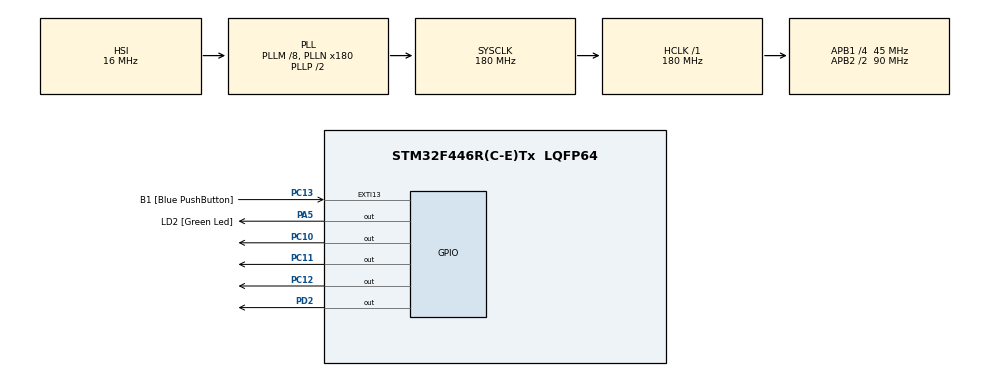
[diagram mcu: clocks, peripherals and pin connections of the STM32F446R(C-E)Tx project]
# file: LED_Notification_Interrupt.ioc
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Mcu.Family=STM32F4
Mcu.Name=STM32F446R(C-E)Tx
Mcu.Package=LQFP64
NVIC.EXTI15_10_IRQn=true\:6\:0\:true\:false\:true\:true\:true\:true
NVIC.PriorityGroup=NVIC_PRIORITYGROUP_4
NVIC.TIM6_DAC_IRQn=true\:15\:0\:false\:false\:true\:false\:true\:true
NVIC.TimeBase=TIM6_DAC_IRQn
NVIC.TimeBaseIP=TIM6
PA13.GPIO_Label=TMS
PA13.Mode=Serial_Wire
PA13.Signal=SYS_JTMS-SWDIO
PA14.GPIO_Label=TCK
PA14.Mode=Serial_Wire
PA14.Signal=SYS_JTCK-SWCLK
PA2.GPIO_Label=USART_TX
PA2.Signal=USART2_TX
PA3.GPIO_Label=USART_RX
PA3.Signal=USART2_RX
PA5.GPIO_Label=LD2 [Green Led]
PA5.Signal=GPIO_Output
PB3.GPIO_Label=SWO
PB3.Signal=SYS_JTDO-SWO
PC10.Signal=GPIO_Output
PC11.Signal=GPIO_Output
PC12.Signal=GPIO_Output
PC13.GPIO_Label=B1 [Blue PushButton]
PC13.GPIO_ModeDefaultEXTI=GPIO_MODE_IT_FALLING
PC13.Signal=GPXTI13
PC14-OSC32_IN.Signal=RCC_OSC32_IN
PC15-OSC32_OUT.Signal=RCC_OSC32_OUT
PD2.Signal=GPIO_Output
PH0-OSC_IN.Signal=RCC_OSC_IN
PH1-OSC_OUT.Signal=RCC_OSC_OUT
ProjectManager.HeapSize=0x200
ProjectManager.StackSize=0x400
ProjectManager.TargetToolchain=STM32CubeIDE
RCC.AHBFreq_Value=180000000
RCC.APB1CLKDivider=RCC_HCLK_DIV4
RCC.APB1Freq_Value=45000000
RCC.APB1TimFreq_Value=90000000
RCC.APB2CLKDivider=RCC_HCLK_DIV2
RCC.APB2Freq_Value=90000000
RCC.APB2TimFreq_Value=180000000
RCC.CortexFreq_Value=180000000
RCC.FLatency-AdvancedSettings=FLASH_LATENCY_5
RCC.HCLKFreq_Value=180000000
RCC.HSE_VALUE=8000000
RCC.HSI_VALUE=16000000
RCC.LSE_VALUE=32768
RCC.PLLM=8
RCC.PLLN=180
RCC.SYSCLKFreq_VALUE=180000000
RCC.SYSCLKSource=RCC_SYSCLKSOURCE_PLLCLK
RCC.USBFreq_Value=180000000
RCC.VCOOutputFreq_Value=360000000
VP_SYS_VS_tim6.Mode=TIM6
board=NUCLEO-F446RE

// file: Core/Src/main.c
/* USER CODE BEGIN Header */
/**
  ******************************************************************************
  * @file           : main.c
  * @brief          : Main program body
  ******************************************************************************
  * @attention
  *
  * Copyright (c) 2022 STMicroelectronics.
  * All rights reserved.
  *
  * This software is licensed under terms that can be found in the LICENSE file
  * in the root directory of this software component.
  * If no LICENSE file comes with this software, it is provided AS-IS.
  *
  ******************************************************************************
  */
/* USER CODE END Header */
#include "main.h"

/* USER CODE BEGIN Includes */
#include "FreeRTOS.h"
#include"task.h"
/* USER CODE END Includes */

/* USER CODE BEGIN PV */
#define DWT_CTRL (*(volatile uint32_t *)0xE0001000)
/* USER CODE END PV */

void SystemClock_Config(void);
static void MX_GPIO_Init(void);
/* USER CODE BEGIN PFP */
static void led_orange_handler (void * prameters );
static void led_yellow_handler (void * prameters );
static void led_green_handler (void * prameters );

TaskHandle_t volatile next_task_handle = NULL ;

TaskHandle_t  orange_handle ;
TaskHandle_t  yellow_handle  ;
TaskHandle_t green_handle ;
TaskHandle_t bt_handle ;
/* USER CODE END PFP */

int main(void)
{
  /* USER CODE BEGIN 1 */
	BaseType_t status ;
  /* USER CODE END 1 */

  /* MCU Configuration--------------------------------------------------------*/

  /* Reset of all peripherals, Initializes the Flash interface and the Systick. */
  HAL_Init();

  /* Configure the system clock */
  SystemClock_Config();

  /* Initialize all configured peripherals */
  MX_GPIO_Init();
  /* USER CODE BEGIN 2 */
  DWT_CTRL |= (1<<0) ;

  SEGGER_UART_init(500000);

  SEGGER_SYSVIEW_Conf() ;
//  SEGGER_SYSVIEW_Start() ;

  status = xTaskCreate(led_orange_handler, "task-3", 200,NULL, 3, &orange_handle) ;
  configASSERT(status == pdPASS) ;
  next_task_handle = orange_handle ;

  status = xTaskCreate(led_yellow_handler, "task-2", 200, NULL,2, &yellow_handle) ;
  configASSERT(status == pdPASS) ;

  status = xTaskCreate(led_green_handler, "task-1", 200, NULL, 1, &green_handle) ;
  configASSERT(status == pdPASS) ;

  configASSERT(status == pdPASS) ;

  // start the FreeRTOS scheduler
  vTaskStartScheduler();
  /* USER CODE END 2 */

  /* Infinite loop */
  while (1)
  {

  }
}

void SystemClock_Config(void)
{
  RCC_OscInitTypeDef RCC_OscInitStruct = {0};
  RCC_ClkInitTypeDef RCC_ClkInitStruct = {0};

  /** Configure the main internal regulator output voltage
  */
  __HAL_RCC_PWR_CLK_ENABLE();
  __HAL_PWR_VOLTAGESCALING_CONFIG(PWR_REGULATOR_VOLTAGE_SCALE1);

  /** Initializes the RCC Oscillators according to the specified parameters
  * in the RCC_OscInitTypeDef structure.
  */
  RCC_OscInitStruct.OscillatorType = RCC_OSCILLATORTYPE_HSI;
  RCC_OscInitStruct.HSIState = RCC_HSI_ON;
  RCC_OscInitStruct.HSICalibrationValue = RCC_HSICALIBRATION_DEFAULT;
  RCC_OscInitStruct.PLL.PLLState = RCC_PLL_ON;
  RCC_OscInitStruct.PLL.PLLSource = RCC_PLLSOURCE_HSI;
  RCC_OscInitStruct.PLL.PLLM = 8;
  RCC_OscInitStruct.PLL.PLLN = 180;
  RCC_OscInitStruct.PLL.PLLP = RCC_PLLP_DIV2;
  RCC_OscInitStruct.PLL.PLLQ = 2;
  RCC_OscInitStruct.PLL.PLLR = 2;
  if (HAL_RCC_OscConfig(&RCC_OscInitStruct) != HAL_OK)
  {
    Error_Handler();
  }

  /** Activate the Over-Drive mode
  */
  if (HAL_PWREx_EnableOverDrive() != HAL_OK)
  {
    Error_Handler();
  }

  /** Initializes the CPU, AHB and APB buses clocks
  */
  RCC_ClkInitStruct.ClockType = RCC_CLOCKTYPE_HCLK|RCC_CLOCKTYPE_SYSCLK
                              |RCC_CLOCKTYPE_PCLK1|RCC_CLOCKTYPE_PCLK2;
  RCC_ClkInitStruct.SYSCLKSource = RCC_SYSCLKSOURCE_PLLCLK;
  RCC_ClkInitStruct.AHBCLKDivider = RCC_SYSCLK_DIV1;
  RCC_ClkInitStruct.APB1CLKDivider = RCC_HCLK_DIV4;
  RCC_ClkInitStruct.APB2CLKDivider = RCC_HCLK_DIV2;

  if (HAL_RCC_ClockConfig(&RCC_ClkInitStruct, FLASH_LATENCY_5) != HAL_OK)
  {
    Error_Handler();
  }
}

static void MX_GPIO_Init(void)
{
  GPIO_InitTypeDef GPIO_InitStruct = {0};

  /* GPIO Ports Clock Enable */
  __HAL_RCC_GPIOC_CLK_ENABLE();
  __HAL_RCC_GPIOH_CLK_ENABLE();
  __HAL_RCC_GPIOA_CLK_ENABLE();
  __HAL_RCC_GPIOD_CLK_ENABLE();
  __HAL_RCC_GPIOB_CLK_ENABLE();

  /*Configure GPIO pin Output Level */
  HAL_GPIO_WritePin(LD2_GPIO_Port, LD2_Pin, GPIO_PIN_RESET);

  /*Configure GPIO pin Output Level */
  HAL_GPIO_WritePin(GPIOC, GPIO_PIN_10|GPIO_PIN_11|GPIO_PIN_12, GPIO_PIN_RESET);

  /*Configure GPIO pin Output Level */
  HAL_GPIO_WritePin(GPIOD, GPIO_PIN_2, GPIO_PIN_RESET);

  /*Configure GPIO pin : B1_Pin */
  GPIO_InitStruct.Pin = B1_Pin;
  GPIO_InitStruct.Mode = GPIO_MODE_IT_FALLING;
  GPIO_InitStruct.Pull = GPIO_NOPULL;
  HAL_GPIO_Init(B1_GPIO_Port, &GPIO_InitStruct);

  /*Configure GPIO pins : USART_TX_Pin USART_RX_Pin */
  GPIO_InitStruct.Pin = USART_TX_Pin|USART_RX_Pin;
  GPIO_InitStruct.Mode = GPIO_MODE_AF_PP;
  GPIO_InitStruct.Pull = GPIO_NOPULL;
  GPIO_InitStruct.Speed = GPIO_SPEED_FREQ_VERY_HIGH;
  GPIO_InitStruct.Alternate = GPIO_AF7_USART2;
  HAL_GPIO_Init(GPIOA, &GPIO_InitStruct);

  /*Configure GPIO pin : LD2_Pin */
  GPIO_InitStruct.Pin = LD2_Pin;
  GPIO_InitStruct.Mode = GPIO_MODE_OUTPUT_PP;
  GPIO_InitStruct.Pull = GPIO_NOPULL;
  GPIO_InitStruct.Speed = GPIO_SPEED_FREQ_LOW;
  HAL_GPIO_Init(LD2_GPIO_Port, &GPIO_InitStruct);

  /*Configure GPIO pins : PC10 PC11 PC12 */
  GPIO_InitStruct.Pin = GPIO_PIN_10|GPIO_PIN_11|GPIO_PIN_12;
  GPIO_InitStruct.Mode = GPIO_MODE_OUTPUT_PP;
  GPIO_InitStruct.Pull = GPIO_NOPULL;
  GPIO_InitStruct.Speed = GPIO_SPEED_FREQ_LOW;
  HAL_GPIO_Init(GPIOC, &GPIO_InitStruct);

  /*Configure GPIO pin : PD2 */
  GPIO_InitStruct.Pin = GPIO_PIN_2;
  GPIO_InitStruct.Mode = GPIO_MODE_OUTPUT_PP;
  GPIO_InitStruct.Pull = GPIO_NOPULL;
  GPIO_InitStruct.Speed = GPIO_SPEED_FREQ_LOW;
  HAL_GPIO_Init(GPIOD, &GPIO_InitStruct);

  /* EXTI interrupt init*/
  HAL_NVIC_SetPriority(EXTI15_10_IRQn, 6, 0);
  HAL_NVIC_EnableIRQ(EXTI15_10_IRQn);

}

/* USER CODE BEGIN 4 */
void button_interrupt_handler (void)
{
	traceISR_ENTER() ;
	BaseType_t HigherPriorityTaskWoken ;
	HigherPriorityTaskWoken = pdFALSE ;

	xTaskNotifyFromISR(next_task_handle,0,eNoAction,&HigherPriorityTaskWoken);

//  Once the ISR exits, this macro makes higher priority task which got unblocked to resume on the CPU.
	portYIELD_FROM_ISR(HigherPriorityTaskWoken);
	traceISR_EXIT() ;
}

/* USER CODE END 4 */

static void led_orange_handler (void * prameters )
{
	BaseType_t status ;
	while(1)
	{
		SEGGER_SYSVIEW_PrintfTarget("Toggling orange led") ;
		HAL_GPIO_TogglePin(GPIOC, GPIO_PIN_11);
		status = xTaskNotifyWait(0,0,NULL,pdMS_TO_TICKS(900));
		if (status == pdTRUE)
		{
			portENTER_CRITICAL() ;
			next_task_handle = yellow_handle ;
			HAL_GPIO_WritePin(GPIOC, GPIO_PIN_11, GPIO_PIN_SET);
			SEGGER_SYSVIEW_PrintfTarget("Delete orange led task ") ;
			portEXIT_CRITICAL() ;
			vTaskDelete(NULL);
		}

	}
}
static void led_yellow_handler (void * prameters )
{
	BaseType_t status ;
	while(1)
	{
		SEGGER_SYSVIEW_PrintfTarget("Toggling yellow led") ;
		HAL_GPIO_TogglePin(GPIOC, GPIO_PIN_10);
		status = xTaskNotifyWait(0,0,NULL,pdMS_TO_TICKS(600));
		if (status == pdTRUE)
		{
			portENTER_CRITICAL() ;
			next_task_handle = green_handle ;
			HAL_GPIO_WritePin(GPIOC, GPIO_PIN_10, GPIO_PIN_SET);
			SEGGER_SYSVIEW_PrintfTarget("Delete yellow led task ") ;
			portEXIT_CRITICAL() ;
			vTaskDelete(NULL);
		}

	}
}
static void led_green_handler (void * prameters )
{
	BaseType_t status ;
	while(1)
	{
		SEGGER_SYSVIEW_PrintfTarget("Toggling green led") ;
		HAL_GPIO_TogglePin(GPIOC, GPIO_PIN_12);
		status = xTaskNotifyWait(0,0,NULL,pdMS_TO_TICKS(300));
		if (status == pdTRUE)
		{
			portENTER_CRITICAL() ;
			next_task_handle = NULL ;
			HAL_GPIO_WritePin(GPIOC, GPIO_PIN_12, GPIO_PIN_SET);
			SEGGER_SYSVIEW_PrintfTarget("Delete green led task ") ;
			portEXIT_CRITICAL() ;
			vTaskDelete(bt_handle);
			vTaskDelete(NULL);
		}

	}
}
void HAL_TIM_PeriodElapsedCallback(TIM_HandleTypeDef *htim)
{
  if (htim->Instance == TIM6) {
    HAL_IncTick();
  }
}

void Error_Handler(void)
{
  __disable_irq();
  while (1)
  {
  }
}
